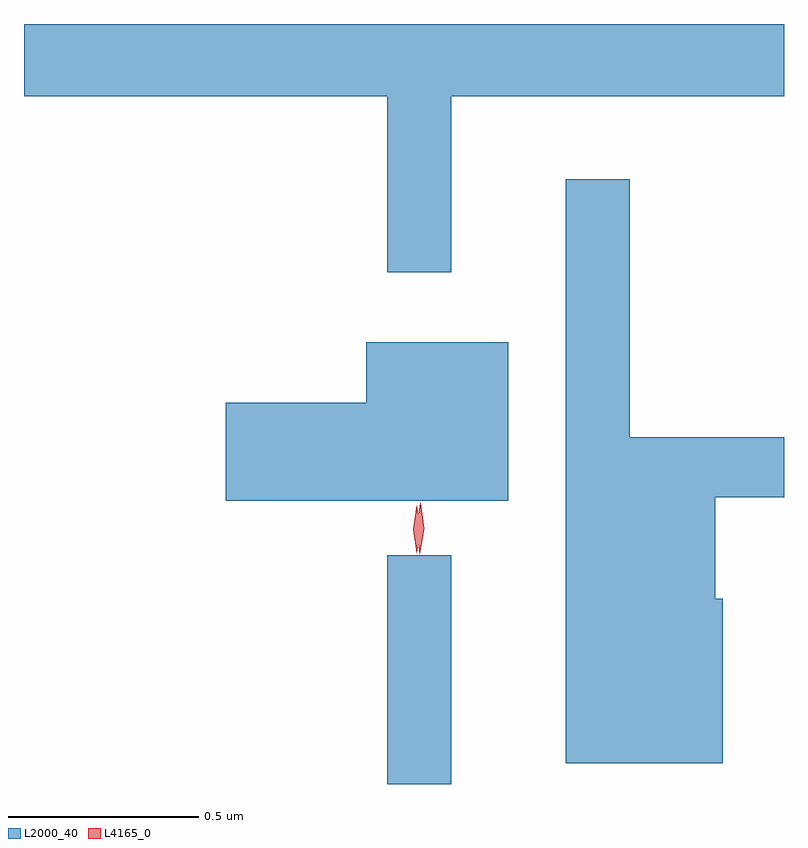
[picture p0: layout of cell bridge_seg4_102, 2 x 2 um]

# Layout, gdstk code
import gdstk
lib = gdstk.Library(unit=1e-6, precision=1e-09)
def R(c, l, rs):  # rectangles x0, y0, x1, y1
    for r in rs: c.add(gdstk.rectangle(r[:2], r[2:], *l))
def P(c, l, *ps):  # polygons
    for p in ps: c.add(gdstk.Polygon(p, *l))
L2000_40 = (2000, 40)
L4165_0 = (4165, 0)

bridge_seg4_102 = lib.new_cell('bridge_seg4_102')
R(bridge_seg4_102, L2000_40, [(793.291,1363.966,793.459,1364.568)])
P(bridge_seg4_102, L2000_40, [(793.459,1365.776),(794.335,1365.776),(794.335,1365.966),(792.335,1365.966),(792.335,1365.776),(793.291,1365.776),(793.291,1365.313),(793.459,1365.313)],
  [(794.174,1364.454),(794.154,1364.454),(794.154,1364.721),(794.335,1364.721),(794.335,1364.879),(793.929,1364.879),(793.929,1365.558),(793.761,1365.558),(793.761,1364.021),(794.174,1364.021)],
  [(793.609,1365.129),(793.236,1365.129),(793.236,1364.969),(792.866,1364.969),(792.866,1364.711),(793.609,1364.711)])
P(bridge_seg4_102, L4165_0, [(793.376,1364.57),(793.368,1364.638),(793.378,1364.705),(793.378,1364.706),(793.379,1364.705),(793.388,1364.638),(793.377,1364.57),(793.377,1364.57)],
  [(793.368,1364.573),(793.359,1364.636),(793.368,1364.699),(793.368,1364.7),(793.369,1364.699),(793.379,1364.636),(793.369,1364.573),(793.369,1364.573)])

lib.write_gds('bridge_seg4_102.gds')
